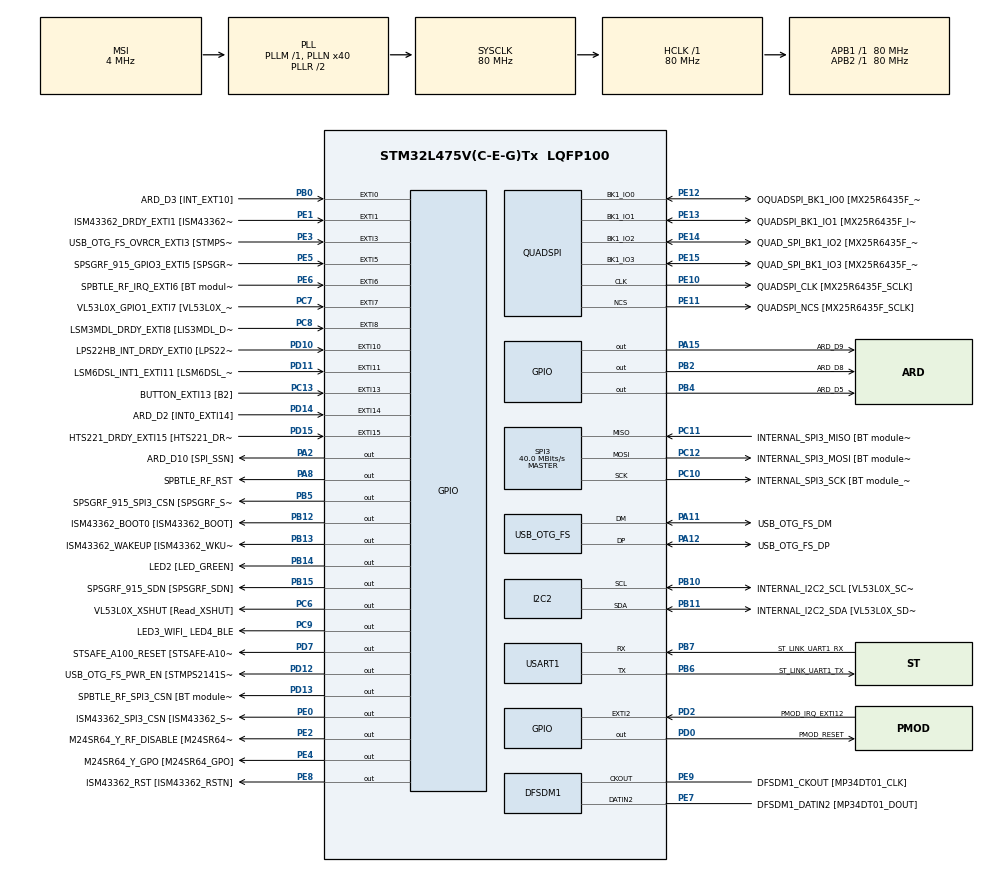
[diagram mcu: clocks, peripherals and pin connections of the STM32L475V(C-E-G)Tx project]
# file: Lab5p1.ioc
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FREERTOS.BinarySemaphores01=set,Dynamic,NULL,Depleted;sendData,Dynamic,NULL,Available
FREERTOS.Tasks01=defaultTask,8,128,StartDefaultTask,Default,NULL,Dynamic,NULL,NULL;LEDlen,24,128,StartTask02,Default,NULL,Dynamic,NULL,NULL;PrintTask,24,128,StartTask03,Default,NULL,Dynamic,NULL,NULL
FREERTOS.Timers01=HTIM1,Callback1,osTimerPeriodic,Default,NULL,Dynamic,NULL
FREERTOS.configTOTAL_HEAP_SIZE=6000
I2C2.Timing=0x10D19CE4
Mcu.Family=STM32L4
Mcu.Name=STM32L475V(C-E-G)Tx
Mcu.Package=LQFP100
NVIC.EXTI15_10_IRQn=true\:5\:0\:false\:false\:true\:true\:true\:true\:true
NVIC.EXTI9_5_IRQn=true\:5\:0\:false\:false\:true\:true\:true\:true\:true
NVIC.PriorityGroup=NVIC_PRIORITYGROUP_4
NVIC.TIM1_TRG_COM_TIM17_IRQn=true\:5\:0\:false\:false\:true\:true\:true\:true\:true
NVIC.TIM1_UP_TIM16_IRQn=true\:5\:0\:false\:false\:true\:true\:true\:true\:true
NVIC.TIM6_DAC_IRQn=true\:15\:0\:false\:false\:true\:false\:false\:true\:true
NVIC.TimeBase=TIM6_DAC_IRQn
NVIC.TimeBaseIP=TIM6
PA0.GPIO_Label=ARD_D1 [UART4_TX]
PA0.Signal=UART4_TX
PA1.GPIO_Label=ARD_D0 [UART4_RX]
PA1.Signal=UART4_RX
PA10.GPIO_Label=USB_OTG_FS_ID
PA10.Signal=USB_OTG_FS_ID
PA11.GPIO_Label=USB_OTG_FS_DM
PA11.Mode=Device_Only
PA11.Signal=USB_OTG_FS_DM
PA12.GPIO_Label=USB_OTG_FS_DP
PA12.Mode=Device_Only
PA12.Signal=USB_OTG_FS_DP
PA13\ (JTMS-SWDIO).GPIO_Label=SYS_JTMS_SWDIO
PA13\ (JTMS-SWDIO).Mode=Trace_Asynchronous_SW
PA13\ (JTMS-SWDIO).Signal=SYS_JTMS-SWDIO
PA14\ (JTCK-SWCLK).GPIO_Label=SYS_JTCK_SWCLK
PA14\ (JTCK-SWCLK).Mode=Trace_Asynchronous_SW
PA14\ (JTCK-SWCLK).Signal=SYS_JTCK-SWCLK
PA15\ (JTDI).GPIO_Label=ARD_D9
PA15\ (JTDI).Signal=GPIO_Output
PA2.GPIO_Label=ARD_D10 [SPI_SSN]
PA2.Signal=GPIO_Output
PA3.GPIO_Label=ARD_D4
PA3.Signal=S_TIM2_CH4
PA4.GPIO_Label=ARD_D7
PA4.Signal=ADCx_IN9
PA5.GPIO_Label=ARD_D13 [SPI1_SCK]
PA5.Signal=SPI1_SCK
PA6.GPIO_Label=ARD_D12 [SPI1_MISO]
PA6.Signal=SPI1_MISO
PA7.GPIO_Label=ARD_D11 [SPI1_MOSI]
PA7.Signal=SPI1_MOSI
PA8.GPIO_Label=SPBTLE_RF_RST
PA8.Signal=GPIO_Output
PA9.GPIO_Label=USB_OTG_FS_VBUS [STMPS2141STR_OUT]
PA9.Signal=USB_OTG_FS_VBUS
PB0.GPIO_Label=ARD_D3 [INT_EXT10]
PB0.Signal=GPXTI0
PB1.GPIO_Label=ARD_D6 [ADC1_IN6]
PB1.Signal=ADCx_IN16
PB10.GPIO_Label=INTERNAL_I2C2_SCL [VL53L0X_SCL]
PB10.GPIO_Pu=GPIO_PULLUP
PB10.Mode=I2C
PB10.Signal=I2C2_SCL
PB11.GPIO_Label=INTERNAL_I2C2_SDA [VL53L0X_SDA]
PB11.GPIO_Pu=GPIO_PULLUP
PB11.Mode=I2C
PB11.Signal=I2C2_SDA
PB12.GPIO_Label=ISM43362_BOOT0 [ISM43362_BOOT]
PB12.Signal=GPIO_Output
PB13.GPIO_Label=ISM43362_WAKEUP [ISM43362_WKUP]
PB13.Signal=GPIO_Output
PB14.GPIO_Label=LED2 [LED_GREEN]
PB14.Signal=GPIO_Output
PB15.GPIO_Label=SPSGRF_915_SDN [SPSGRF_SDN]
PB15.Signal=GPIO_Output
PB2.GPIO_Label=ARD_D8
PB2.Signal=GPIO_Output
PB3\ (JTDO-TRACESWO).GPIO_Label=SYS_JTD0_SWO
PB3\ (JTDO-TRACESWO).Mode=Trace_Asynchronous_SW
PB3\ (JTDO-TRACESWO).Signal=SYS_JTDO-SWO
PB4\ (NJTRST).GPIO_Label=ARD_D5
PB4\ (NJTRST).Signal=GPIO_Output
PB5.GPIO_Label=SPSGRF_915_SPI3_CSN [SPSGRF_SPI_CS]
PB5.PinState=GPIO_PIN_SET
PB5.Signal=GPIO_Output
PB6.GPIO_Label=ST_LINK_UART1_TX
PB6.Mode=Asynchronous
PB6.Signal=USART1_TX
PB7.GPIO_Label=ST_LINK_UART1_RX
PB7.Mode=Asynchronous
PB7.Signal=USART1_RX
PB8.GPIO_Label=ARD_D15 [I2C1_SCL]
PB8.Signal=I2C1_SCL
PB9.GPIO_Label=ARD_D14 [I2C1_SDA]
PB9.Signal=I2C1_SDA
PC0.GPIO_Label=ARD_A5 [ADC]
PC0.Signal=ADCx_IN1
PC1.GPIO_Label=ARD_A4 [ADC]
PC1.Signal=ADCx_IN2
PC10.GPIO_Label=INTERNAL_SPI3_SCK [BT module_SPI_SCLK] [ISM43362_SCK]
PC10.Mode=Full_Duplex_Master
PC10.Signal=SPI3_SCK
PC11.GPIO_Label=INTERNAL_SPI3_MISO [BT module_SPI_MISO] [ISM43362_MISO]
PC11.Mode=Full_Duplex_Master
PC11.Signal=SPI3_MISO
PC12.GPIO_Label=INTERNAL_SPI3_MOSI [BT module_SPI_MOSI] [ISM43362_MOSI]
PC12.Mode=Full_Duplex_Master
PC12.Signal=SPI3_MOSI
PC13.GPIO_Label=BUTTON_EXTI13 [B2]
PC13.GPIO_ModeDefaultEXTI=GPIO_MODE_IT_FALLING
PC13.Signal=GPXTI13
PC14-OSC32_IN\ (PC14).Mode=LSE-External-Oscillator
PC14-OSC32_IN\ (PC14).Signal=RCC_OSC32_IN
PC15-OSC32_OUT\ (PC15).Mode=LSE-External-Oscillator
PC15-OSC32_OUT\ (PC15).Signal=RCC_OSC32_OUT
PC2.GPIO_Label=ARD_A3 [ADC]
PC2.Signal=ADCx_IN3
PC3.GPIO_Label=ARD_A2 [ADC]
PC3.Signal=ADCx_IN4
PC4.GPIO_Label=ARD_A1 [ADC]
PC4.Signal=ADCx_IN13
PC5.GPIO_Label=ARD_A0 [ADC]
PC5.Signal=ADCx_IN14
PC6.GPIO_Label=VL53L0X_XSHUT [Read_XSHUT]
PC6.Signal=GPIO_Output
PC7.GPIO_Label=VL53L0X_GPIO1_EXTI7 [VL53L0X_GPIO1]
PC7.Signal=GPXTI7
PC8.GPIO_Label=LSM3MDL_DRDY_EXTI8 [LIS3MDL_DRDY]
PC8.Signal=GPXTI8
PC9.GPIO_Label=LED3_WIFI_ LED4_BLE
PC9.Signal=GPIO_Output
PD0.GPIO_Label=PMOD_RESET
PD0.Signal=GPIO_Output
PD1.GPIO_Label=PMOD_SPI2_SCK
PD1.Signal=SPI2_SCK
PD10.GPIO_Label=LPS22HB_INT_DRDY_EXTI0 [LPS22HB_INT_DRDY] 
PD10.Signal=GPXTI10
PD11.GPIO_Label=LSM6DSL_INT1_EXTI11 [LSM6DSL_INT1]
PD11.Signal=GPXTI11
PD12.GPIO_Label=USB_OTG_FS_PWR_EN [STMPS2141STR_EN]
PD12.Signal=GPIO_Output
PD13.GPIO_Label=SPBTLE_RF_SPI3_CSN [BT module_SPI_CS]
PD13.PinState=GPIO_PIN_SET
PD13.Signal=GPIO_Output
PD14.GPIO_Label=ARD_D2 [INT0_EXTI14]
PD14.Signal=GPXTI14
PD15.GPIO_Label=HTS221_DRDY_EXTI15 [HTS221_DRDY]
PD15.Signal=GPXTI15
PD2.GPIO_Label=PMOD_IRQ_EXTI12
PD2.Signal=GPXTI2
PD3.GPIO_Label=PMOD_UART2_CTS
PD3.Signal=USART2_CTS
PD4.GPIO_Label=PMOD_UART2_RTS
PD4.Signal=USART2_RTS
PD5.GPIO_Label=PMOD_UART2_TX
PD5.Signal=USART2_TX
PD6.GPIO_Label=PMOD_UART2_RX
PD6.Signal=USART2_RX
PD7.GPIO_Label=STSAFE_A100_RESET [STSAFE-A100_RESET]
PD7.Signal=GPIO_Output
PD8.GPIO_Label=INTERNAL_UART3_TX [ISM43362_RX]
PD8.Signal=USART3_TX
PD9.GPIO_Label=INTERNAL_UART3_RX [ISM43362_TX]
PD9.Signal=USART3_RX
PE0.GPIO_Label=ISM43362_SPI3_CSN [ISM43362_SSN]
PE0.PinState=GPIO_PIN_SET
PE0.Signal=GPIO_Output
PE1.GPIO_Label=ISM43362_DRDY_EXTI1 [ISM43362_DATARDY]
PE1.Signal=GPXTI1
PE10.GPIO_Label=QUADSPI_CLK [MX25R6435F_SCLK]
PE10.Mode=Single Bank
PE10.Signal=QUADSPI_CLK
PE11.GPIO_Label=QUADSPI_NCS [MX25R6435F_SCLK]
PE11.Mode=Single Bank
PE11.Signal=QUADSPI_NCS
PE12.GPIO_Label=OQUADSPI_BK1_IO0 [MX25R6435F_IO0]
PE12.Mode=Single Bank
PE12.Signal=QUADSPI_BK1_IO0
PE13.GPIO_Label=QUADSPI_BK1_IO1 [MX25R6435F_IO1]
PE13.Mode=Single Bank
PE13.Signal=QUADSPI_BK1_IO1
PE14.GPIO_Label=QUAD_SPI_BK1_IO2 [MX25R6435F_IO2]
PE14.Mode=Single Bank
PE14.Signal=QUADSPI_BK1_IO2
PE15.GPIO_Label=QUAD_SPI_BK1_IO3 [MX25R6435F_IO3]
PE15.Mode=Single Bank
PE15.Signal=QUADSPI_BK1_IO3
PE2.GPIO_Label=M24SR64_Y_RF_DISABLE [M24SR64_RFDIS]
PE2.Signal=GPIO_Output
PE3.GPIO_Label=USB_OTG_FS_OVRCR_EXTI3 [STMPS2141STR_FAULT]
PE3.Signal=GPXTI3
PE4.GPIO_Label=M24SR64_Y_GPO [M24SR64_GPO]
PE4.Signal=GPIO_Output
PE5.GPIO_Label=SPSGRF_915_GPIO3_EXTI5 [SPSGRF_GPIO_3]
PE5.Signal=GPXTI5
PE6.GPIO_Label=SPBTLE_RF_IRQ_EXTI6 [BT module_SPI_IRQ]
PE6.Signal=GPXTI6
PE7.GPIO_Label=DFSDM1_DATIN2 [MP34DT01_DOUT]
PE7.Signal=S_DATAIN2DFSDM1
PE8.GPIO_Label=ISM43362_RST [ISM43362_RSTN]
PE8.Signal=GPIO_Output
PE9.GPIO_Label=DFSDM1_CKOUT [MP34DT01_CLK]
PE9.Signal=S_CKOUTDFSDM1
ProjectManager.HeapSize=0x200
ProjectManager.StackSize=0x400
ProjectManager.TargetToolchain=STM32CubeIDE
QUADSPI.ClockPrescaler=2
QUADSPI.FifoThreshold=4
QUADSPI.FlashSize=23
QUADSPI.SampleShifting=QSPI_SAMPLE_SHIFTING_HALFCYCLE
RCC.ADCFreq_Value=48000000
RCC.AHBFreq_Value=80000000
RCC.APB1Freq_Value=80000000
RCC.APB1TimFreq_Value=80000000
RCC.APB2Freq_Value=80000000
RCC.APB2TimFreq_Value=80000000
RCC.CortexFreq_Value=80000000
RCC.HCLKFreq_Value=80000000
RCC.HSE_VALUE=8000000
RCC.HSI_VALUE=16000000
RCC.MSI_VALUE=4000000
RCC.PLLN=40
RCC.PLLSAI1N=24
RCC.SYSCLKFreq_VALUE=80000000
RCC.SYSCLKSource=RCC_SYSCLKSOURCE_PLLCLK
RCC.USBFreq_Value=48000000
RCC.VCOOutputFreq_Value=160000000
SH.ADCx_IN1.0=ADC1_IN1
SH.ADCx_IN13.0=ADC1_IN13
SH.ADCx_IN14.0=ADC1_IN14
SH.ADCx_IN16.0=ADC1_IN16
SH.ADCx_IN2.0=ADC1_IN2
SH.ADCx_IN3.0=ADC1_IN3
SH.ADCx_IN4.0=ADC1_IN4
SH.ADCx_IN9.0=ADC1_IN9
SH.S_CKOUTDFSDM1.0=DFSDM1_CKOUT,CKOUT
SH.S_CKOUTDFSDM1.1=DFSDM1_CKOUT,PDM_SPI_Input_from_ch12_and_Internal_Clock
SH.S_DATAIN2DFSDM1.0=DFSDM1_DATIN2,PDM_SPI_Input_from_ch12_and_Internal_Clock
SH.S_TIM2_CH4.0=TIM2_CH4
SPI3.CalculateBaudRate=40.0 MBits/s
SPI3.Direction=SPI_DIRECTION_2LINES
SPI3.Mode=SPI_MODE_MASTER
SPI3.VirtualType=VM_MASTER
TIM16.Period=10000-1
TIM16.Prescaler=8000-1
TIM17.Period=10000-1
TIM17.Prescaler=8000-1
USART1.VirtualMode-Asynchronous=VM_ASYNC
USB_OTG_FS.VirtualMode=Device_Only
VP_FREERTOS_VS_CMSIS_V2.Mode=CMSIS_V2
VP_SYS_VS_tim6.Mode=TIM6
VP_TIM16_VS_ClockSourceINT.Mode=Enable_Timer
VP_TIM17_VS_ClockSourceINT.Mode=Enable_Timer
board=B-L475E-IOT01A1

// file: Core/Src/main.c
/* USER CODE BEGIN Header */
/**
  ******************************************************************************
  * @file           : main.c
  * @brief          : Main program body
  ******************************************************************************
  * @attention
  *
  * Copyright (c) 2024 STMicroelectronics.
  * All rights reserved.
  *
  * This software is licensed under terms that can be found in the LICENSE file
  * in the root directory of this software component.
  * If no LICENSE file comes with this software, it is provided AS-IS.
  *
  ******************************************************************************
  */
/* USER CODE END Header */
#include "main.h"
#include "cmsis_os.h"

/* USER CODE BEGIN PTD */
#define SW_HW_ 1
/* USER CODE END PTD */

DFSDM_Channel_HandleTypeDef hdfsdm1_channel1;

I2C_HandleTypeDef hi2c2;

QSPI_HandleTypeDef hqspi;

SPI_HandleTypeDef hspi3;

TIM_HandleTypeDef htim16;
TIM_HandleTypeDef htim17;

UART_HandleTypeDef huart1;

PCD_HandleTypeDef hpcd_USB_OTG_FS;

/* Definitions for defaultTask */
osThreadId_t defaultTaskHandle;
const osThreadAttr_t defaultTask_attributes = {
  .name = "defaultTask",
  .stack_size = 128 * 4,
  .priority = (osPriority_t) osPriorityLow,
};
/* Definitions for LEDlen */
osThreadId_t LEDlenHandle;
const osThreadAttr_t LEDlen_attributes = {
  .name = "LEDlen",
  .stack_size = 128 * 4,
  .priority = (osPriority_t) osPriorityNormal,
};
/* Definitions for PrintTask */
osThreadId_t PrintTaskHandle;
const osThreadAttr_t PrintTask_attributes = {
  .name = "PrintTask",
  .stack_size = 128 * 4,
  .priority = (osPriority_t) osPriorityNormal,
};
/* Definitions for HTIM1 */
osTimerId_t HTIM1Handle;
const osTimerAttr_t HTIM1_attributes = {
  .name = "HTIM1"
};
/* Definitions for set */
osSemaphoreId_t setHandle;
const osSemaphoreAttr_t set_attributes = {
  .name = "set"
};
/* Definitions for sendData */
osSemaphoreId_t sendDataHandle;
const osSemaphoreAttr_t sendData_attributes = {
  .name = "sendData"
};
/* USER CODE BEGIN PV */
uint8_t toglen=0;
int flashlen=1000;
int x=0;
/* USER CODE END PV */

void SystemClock_Config(void);
static void MX_GPIO_Init(void);
static void MX_DFSDM1_Init(void);
static void MX_I2C2_Init(void);
static void MX_QUADSPI_Init(void);
static void MX_SPI3_Init(void);
static void MX_USART1_UART_Init(void);
static void MX_USB_OTG_FS_PCD_Init(void);
static void MX_TIM16_Init(void);
static void MX_TIM17_Init(void);
void StartDefaultTask(void *argument);
void StartTask02(void *argument);
void StartTask03(void *argument);
void Callback1(void *argument);

/* USER CODE BEGIN 0 */
int _write(int file, char *ptr, int len) {

 for (int i = 0; i < len; i++) {

 ITM_SendChar((*ptr++));

 }

 return len;

}
/* USER CODE END 0 */

int main(void)
{

  /* MCU Configuration--------------------------------------------------------*/

  /* Reset of all peripherals, Initializes the Flash interface and the Systick. */
  HAL_Init();

  /* USER CODE BEGIN Init */
  printf("Starting\n");
  /* USER CODE END Init */

  /* Configure the system clock */
  SystemClock_Config();

  /* Initialize all configured peripherals */
  MX_GPIO_Init();
  MX_DFSDM1_Init();
  MX_I2C2_Init();
  MX_QUADSPI_Init();
  MX_SPI3_Init();
  MX_USART1_UART_Init();
  MX_USB_OTG_FS_PCD_Init();
  MX_TIM16_Init();
  MX_TIM17_Init();
  /* USER CODE BEGIN 2 */
  HAL_TIM_Base_Start_IT(&htim16);
  HAL_TIM_Base_Start_IT(&htim17);
  uint8_t msg[] = "=====> starting \r\n ";
  HAL_UART_Transmit(&huart1,msg,sizeof(msg),1000);

  /* USER CODE END 2 */

  /* Init scheduler */
  osKernelInitialize();

  /* Create the semaphores(s) */
  /* creation of set */
  setHandle = osSemaphoreNew(1, 0, &set_attributes);

  /* creation of sendData */
  sendDataHandle = osSemaphoreNew(1, 1, &sendData_attributes);

  /* Create the timer(s) */
  /* creation of HTIM1 */
  HTIM1Handle = osTimerNew(Callback1, osTimerPeriodic, NULL, &HTIM1_attributes);

  /* USER CODE BEGIN RTOS_TIMERS */
  int stat = osTimerStart(HTIM1Handle, 1000);
  if (stat == osOK) {
	  printf("Timer is good %d\n",stat);
    }
  /* start timers, add new ones, ... */
  /* USER CODE END RTOS_TIMERS */

  /* Create the thread(s) */
  /* creation of defaultTask */
  defaultTaskHandle = osThreadNew(StartDefaultTask, NULL, &defaultTask_attributes);

  /* creation of LEDlen */
  LEDlenHandle = osThreadNew(StartTask02, NULL, &LEDlen_attributes);

  /* creation of PrintTask */
  PrintTaskHandle = osThreadNew(StartTask03, NULL, &PrintTask_attributes);

  /* Start scheduler */
  osKernelStart();

  /* We should never get here as control is now taken by the scheduler */

  /* Infinite loop */
  while (1)
  {

  }
}

void SystemClock_Config(void)
{
  RCC_OscInitTypeDef RCC_OscInitStruct = {0};
  RCC_ClkInitTypeDef RCC_ClkInitStruct = {0};

  /** Configure the main internal regulator output voltage
  */
  if (HAL_PWREx_ControlVoltageScaling(PWR_REGULATOR_VOLTAGE_SCALE1) != HAL_OK)
  {
    Error_Handler();
  }

  /** Configure LSE Drive Capability
  */
  HAL_PWR_EnableBkUpAccess();
  __HAL_RCC_LSEDRIVE_CONFIG(RCC_LSEDRIVE_LOW);

  /** Initializes the RCC Oscillators according to the specified parameters
  * in the RCC_OscInitTypeDef structure.
  */
  RCC_OscInitStruct.OscillatorType = RCC_OSCILLATORTYPE_LSE|RCC_OSCILLATORTYPE_MSI;
  RCC_OscInitStruct.LSEState = RCC_LSE_ON;
  RCC_OscInitStruct.MSIState = RCC_MSI_ON;
  RCC_OscInitStruct.MSICalibrationValue = 0;
  RCC_OscInitStruct.MSIClockRange = RCC_MSIRANGE_6;
  RCC_OscInitStruct.PLL.PLLState = RCC_PLL_ON;
  RCC_OscInitStruct.PLL.PLLSource = RCC_PLLSOURCE_MSI;
  RCC_OscInitStruct.PLL.PLLM = 1;
  RCC_OscInitStruct.PLL.PLLN = 40;
  RCC_OscInitStruct.PLL.PLLP = RCC_PLLP_DIV7;
  RCC_OscInitStruct.PLL.PLLQ = RCC_PLLQ_DIV2;
  RCC_OscInitStruct.PLL.PLLR = RCC_PLLR_DIV2;
  if (HAL_RCC_OscConfig(&RCC_OscInitStruct) != HAL_OK)
  {
    Error_Handler();
  }

  /** Initializes the CPU, AHB and APB buses clocks
  */
  RCC_ClkInitStruct.ClockType = RCC_CLOCKTYPE_HCLK|RCC_CLOCKTYPE_SYSCLK
                              |RCC_CLOCKTYPE_PCLK1|RCC_CLOCKTYPE_PCLK2;
  RCC_ClkInitStruct.SYSCLKSource = RCC_SYSCLKSOURCE_PLLCLK;
  RCC_ClkInitStruct.AHBCLKDivider = RCC_SYSCLK_DIV1;
  RCC_ClkInitStruct.APB1CLKDivider = RCC_HCLK_DIV1;
  RCC_ClkInitStruct.APB2CLKDivider = RCC_HCLK_DIV1;

  if (HAL_RCC_ClockConfig(&RCC_ClkInitStruct, FLASH_LATENCY_4) != HAL_OK)
  {
    Error_Handler();
  }

  /** Enable MSI Auto calibration
  */
  HAL_RCCEx_EnableMSIPLLMode();
}

static void MX_DFSDM1_Init(void)
{

  hdfsdm1_channel1.Instance = DFSDM1_Channel1;
  hdfsdm1_channel1.Init.OutputClock.Activation = ENABLE;
  hdfsdm1_channel1.Init.OutputClock.Selection = DFSDM_CHANNEL_OUTPUT_CLOCK_SYSTEM;
  hdfsdm1_channel1.Init.OutputClock.Divider = 2;
  hdfsdm1_channel1.Init.Input.Multiplexer = DFSDM_CHANNEL_EXTERNAL_INPUTS;
  hdfsdm1_channel1.Init.Input.DataPacking = DFSDM_CHANNEL_STANDARD_MODE;
  hdfsdm1_channel1.Init.Input.Pins = DFSDM_CHANNEL_FOLLOWING_CHANNEL_PINS;
  hdfsdm1_channel1.Init.SerialInterface.Type = DFSDM_CHANNEL_SPI_RISING;
  hdfsdm1_channel1.Init.SerialInterface.SpiClock = DFSDM_CHANNEL_SPI_CLOCK_INTERNAL;
  hdfsdm1_channel1.Init.Awd.FilterOrder = DFSDM_CHANNEL_FASTSINC_ORDER;
  hdfsdm1_channel1.Init.Awd.Oversampling = 1;
  hdfsdm1_channel1.Init.Offset = 0;
  hdfsdm1_channel1.Init.RightBitShift = 0x00;
  if (HAL_DFSDM_ChannelInit(&hdfsdm1_channel1) != HAL_OK)
  {
    Error_Handler();
  }

}

static void MX_I2C2_Init(void)
{

  hi2c2.Instance = I2C2;
  hi2c2.Init.Timing = 0x10D19CE4;
  hi2c2.Init.OwnAddress1 = 0;
  hi2c2.Init.AddressingMode = I2C_ADDRESSINGMODE_7BIT;
  hi2c2.Init.DualAddressMode = I2C_DUALADDRESS_DISABLE;
  hi2c2.Init.OwnAddress2 = 0;
  hi2c2.Init.OwnAddress2Masks = I2C_OA2_NOMASK;
  hi2c2.Init.GeneralCallMode = I2C_GENERALCALL_DISABLE;
  hi2c2.Init.NoStretchMode = I2C_NOSTRETCH_DISABLE;
  if (HAL_I2C_Init(&hi2c2) != HAL_OK)
  {
    Error_Handler();
  }

  /** Configure Analogue filter
  */
  if (HAL_I2CEx_ConfigAnalogFilter(&hi2c2, I2C_ANALOGFILTER_ENABLE) != HAL_OK)
  {
    Error_Handler();
  }

  /** Configure Digital filter
  */
  if (HAL_I2CEx_ConfigDigitalFilter(&hi2c2, 0) != HAL_OK)
  {
    Error_Handler();
  }

}

static void MX_QUADSPI_Init(void)
{

  /* QUADSPI parameter configuration*/
  hqspi.Instance = QUADSPI;
  hqspi.Init.ClockPrescaler = 2;
  hqspi.Init.FifoThreshold = 4;
  hqspi.Init.SampleShifting = QSPI_SAMPLE_SHIFTING_HALFCYCLE;
  hqspi.Init.FlashSize = 23;
  hqspi.Init.ChipSelectHighTime = QSPI_CS_HIGH_TIME_1_CYCLE;
  hqspi.Init.ClockMode = QSPI_CLOCK_MODE_0;
  if (HAL_QSPI_Init(&hqspi) != HAL_OK)
  {
    Error_Handler();
  }

}

static void MX_SPI3_Init(void)
{

  /* SPI3 parameter configuration*/
  hspi3.Instance = SPI3;
  hspi3.Init.Mode = SPI_MODE_MASTER;
  hspi3.Init.Direction = SPI_DIRECTION_2LINES;
  hspi3.Init.DataSize = SPI_DATASIZE_4BIT;
  hspi3.Init.CLKPolarity = SPI_POLARITY_LOW;
  hspi3.Init.CLKPhase = SPI_PHASE_1EDGE;
  hspi3.Init.NSS = SPI_NSS_SOFT;
  hspi3.Init.BaudRatePrescaler = SPI_BAUDRATEPRESCALER_2;
  hspi3.Init.FirstBit = SPI_FIRSTBIT_MSB;
  hspi3.Init.TIMode = SPI_TIMODE_DISABLE;
  hspi3.Init.CRCCalculation = SPI_CRCCALCULATION_DISABLE;
  hspi3.Init.CRCPolynomial = 7;
  hspi3.Init.CRCLength = SPI_CRC_LENGTH_DATASIZE;
  hspi3.Init.NSSPMode = SPI_NSS_PULSE_ENABLE;
  if (HAL_SPI_Init(&hspi3) != HAL_OK)
  {
    Error_Handler();
  }

}

static void MX_TIM16_Init(void)
{

  htim16.Instance = TIM16;
  htim16.Init.Prescaler = 8000-1;
  htim16.Init.CounterMode = TIM_COUNTERMODE_UP;
  htim16.Init.Period = 10000-1;
  htim16.Init.ClockDivision = TIM_CLOCKDIVISION_DIV1;
  htim16.Init.RepetitionCounter = 0;
  htim16.Init.AutoReloadPreload = TIM_AUTORELOAD_PRELOAD_DISABLE;
  if (HAL_TIM_Base_Init(&htim16) != HAL_OK)
  {
    Error_Handler();
  }

}

static void MX_TIM17_Init(void)
{

  htim17.Instance = TIM17;
  htim17.Init.Prescaler = 8000-1;
  htim17.Init.CounterMode = TIM_COUNTERMODE_UP;
  htim17.Init.Period = 10000-1;
  htim17.Init.ClockDivision = TIM_CLOCKDIVISION_DIV1;
  htim17.Init.RepetitionCounter = 0;
  htim17.Init.AutoReloadPreload = TIM_AUTORELOAD_PRELOAD_DISABLE;
  if (HAL_TIM_Base_Init(&htim17) != HAL_OK)
  {
    Error_Handler();
  }

}

static void MX_USART1_UART_Init(void)
{

  huart1.Instance = USART1;
  huart1.Init.BaudRate = 115200;
  huart1.Init.WordLength = UART_WORDLENGTH_8B;
  huart1.Init.StopBits = UART_STOPBITS_1;
  huart1.Init.Parity = UART_PARITY_NONE;
  huart1.Init.Mode = UART_MODE_TX_RX;
  huart1.Init.HwFlowCtl = UART_HWCONTROL_NONE;
  huart1.Init.OverSampling = UART_OVERSAMPLING_16;
  huart1.Init.OneBitSampling = UART_ONE_BIT_SAMPLE_DISABLE;
  huart1.AdvancedInit.AdvFeatureInit = UART_ADVFEATURE_NO_INIT;
  if (HAL_UART_Init(&huart1) != HAL_OK)
  {
    Error_Handler();
  }

}

static void MX_USB_OTG_FS_PCD_Init(void)
{

  hpcd_USB_OTG_FS.Instance = USB_OTG_FS;
  hpcd_USB_OTG_FS.Init.dev_endpoints = 6;
  hpcd_USB_OTG_FS.Init.speed = PCD_SPEED_FULL;
  hpcd_USB_OTG_FS.Init.phy_itface = PCD_PHY_EMBEDDED;
  hpcd_USB_OTG_FS.Init.Sof_enable = DISABLE;
  hpcd_USB_OTG_FS.Init.low_power_enable = DISABLE;
  hpcd_USB_OTG_FS.Init.lpm_enable = DISABLE;
  hpcd_USB_OTG_FS.Init.battery_charging_enable = DISABLE;
  hpcd_USB_OTG_FS.Init.use_dedicated_ep1 = DISABLE;
  hpcd_USB_OTG_FS.Init.vbus_sensing_enable = DISABLE;
  if (HAL_PCD_Init(&hpcd_USB_OTG_FS) != HAL_OK)
  {
    Error_Handler();
  }

}

static void MX_GPIO_Init(void)
{
  GPIO_InitTypeDef GPIO_InitStruct = {0};

  /* GPIO Ports Clock Enable */
  __HAL_RCC_GPIOE_CLK_ENABLE();
  __HAL_RCC_GPIOC_CLK_ENABLE();
  __HAL_RCC_GPIOA_CLK_ENABLE();
  __HAL_RCC_GPIOB_CLK_ENABLE();
  __HAL_RCC_GPIOD_CLK_ENABLE();

  /*Configure GPIO pin Output Level */
  HAL_GPIO_WritePin(GPIOE, M24SR64_Y_RF_DISABLE_Pin|M24SR64_Y_GPO_Pin|ISM43362_RST_Pin, GPIO_PIN_RESET);

  /*Configure GPIO pin Output Level */
  HAL_GPIO_WritePin(GPIOA, ARD_D10_Pin|SPBTLE_RF_RST_Pin|ARD_D9_Pin, GPIO_PIN_RESET);

  /*Configure GPIO pin Output Level */
  HAL_GPIO_WritePin(GPIOB, ARD_D8_Pin|ISM43362_BOOT0_Pin|ISM43362_WAKEUP_Pin|LED2_Pin
                          |SPSGRF_915_SDN_Pin|ARD_D5_Pin, GPIO_PIN_RESET);

  /*Configure GPIO pin Output Level */
  HAL_GPIO_WritePin(GPIOD, USB_OTG_FS_PWR_EN_Pin|PMOD_RESET_Pin|STSAFE_A100_RESET_Pin, GPIO_PIN_RESET);

  /*Configure GPIO pin Output Level */
  HAL_GPIO_WritePin(SPBTLE_RF_SPI3_CSN_GPIO_Port, SPBTLE_RF_SPI3_CSN_Pin, GPIO_PIN_SET);

  /*Configure GPIO pin Output Level */
  HAL_GPIO_WritePin(GPIOC, VL53L0X_XSHUT_Pin|LED3_WIFI__LED4_BLE_Pin, GPIO_PIN_RESET);

  /*Configure GPIO pin Output Level */
  HAL_GPIO_WritePin(SPSGRF_915_SPI3_CSN_GPIO_Port, SPSGRF_915_SPI3_CSN_Pin, GPIO_PIN_SET);

  /*Configure GPIO pin Output Level */
  HAL_GPIO_WritePin(ISM43362_SPI3_CSN_GPIO_Port, ISM43362_SPI3_CSN_Pin, GPIO_PIN_SET);

  /*Configure GPIO pins : M24SR64_Y_RF_DISABLE_Pin M24SR64_Y_GPO_Pin ISM43362_RST_Pin ISM43362_SPI3_CSN_Pin */
  GPIO_InitStruct.Pin = M24SR64_Y_RF_DISABLE_Pin|M24SR64_Y_GPO_Pin|ISM43362_RST_Pin|ISM43362_SPI3_CSN_Pin;
  GPIO_InitStruct.Mode = GPIO_MODE_OUTPUT_PP;
  GPIO_InitStruct.Pull = GPIO_NOPULL;
  GPIO_InitStruct.Speed = GPIO_SPEED_FREQ_LOW;
  HAL_GPIO_Init(GPIOE, &GPIO_InitStruct);

  /*Configure GPIO pins : USB_OTG_FS_OVRCR_EXTI3_Pin SPSGRF_915_GPIO3_EXTI5_Pin SPBTLE_RF_IRQ_EXTI6_Pin ISM43362_DRDY_EXTI1_Pin */
  GPIO_InitStruct.Pin = USB_OTG_FS_OVRCR_EXTI3_Pin|SPSGRF_915_GPIO3_EXTI5_Pin|SPBTLE_RF_IRQ_EXTI6_Pin|ISM43362_DRDY_EXTI1_Pin;
  GPIO_InitStruct.Mode = GPIO_MODE_IT_RISING;
  GPIO_InitStruct.Pull = GPIO_NOPULL;
  HAL_GPIO_Init(GPIOE, &GPIO_InitStruct);

  /*Configure GPIO pin : BUTTON_EXTI13_Pin */
  GPIO_InitStruct.Pin = BUTTON_EXTI13_Pin;
  GPIO_InitStruct.Mode = GPIO_MODE_IT_FALLING;
  GPIO_InitStruct.Pull = GPIO_NOPULL;
  HAL_GPIO_Init(BUTTON_EXTI13_GPIO_Port, &GPIO_InitStruct);

  /*Configure GPIO pins : ARD_A5_Pin ARD_A4_Pin ARD_A3_Pin ARD_A2_Pin
                           ARD_A1_Pin ARD_A0_Pin */
  GPIO_InitStruct.Pin = ARD_A5_Pin|ARD_A4_Pin|ARD_A3_Pin|ARD_A2_Pin
                          |ARD_A1_Pin|ARD_A0_Pin;
  GPIO_InitStruct.Mode = GPIO_MODE_ANALOG_ADC_CONTROL;
  GPIO_InitStruct.Pull = GPIO_NOPULL;
  HAL_GPIO_Init(GPIOC, &GPIO_InitStruct);

  /*Configure GPIO pins : ARD_D1_Pin ARD_D0_Pin */
  GPIO_InitStruct.Pin = ARD_D1_Pin|ARD_D0_Pin;
  GPIO_InitStruct.Mode = GPIO_MODE_AF_PP;
  GPIO_InitStruct.Pull = GPIO_NOPULL;
  GPIO_InitStruct.Speed = GPIO_SPEED_FREQ_VERY_HIGH;
  GPIO_InitStruct.Alternate = GPIO_AF8_UART4;
  HAL_GPIO_Init(GPIOA, &GPIO_InitStruct);

  /*Configure GPIO pins : ARD_D10_Pin SPBTLE_RF_RST_Pin ARD_D9_Pin */
  GPIO_InitStruct.Pin = ARD_D10_Pin|SPBTLE_RF_RST_Pin|ARD_D9_Pin;
  GPIO_InitStruct.Mode = GPIO_MODE_OUTPUT_PP;
  GPIO_InitStruct.Pull = GPIO_NOPULL;
  GPIO_InitStruct.Speed = GPIO_SPEED_FREQ_LOW;
  HAL_GPIO_Init(GPIOA, &GPIO_InitStruct);

  /*Configure GPIO pin : ARD_D4_Pin */
  GPIO_InitStruct.Pin = ARD_D4_Pin;
  GPIO_InitStruct.Mode = GPIO_MODE_AF_PP;
  GPIO_InitStruct.Pull = GPIO_NOPULL;
  GPIO_InitStruct.Speed = GPIO_SPEED_FREQ_LOW;
  GPIO_InitStruct.Alternate = GPIO_AF1_TIM2;
  HAL_GPIO_Init(ARD_D4_GPIO_Port, &GPIO_InitStruct);

  /*Configure GPIO pin : ARD_D7_Pin */
  GPIO_InitStruct.Pin = ARD_D7_Pin;
  GPIO_InitStruct.Mode = GPIO_MODE_ANALOG_ADC_CONTROL;
  GPIO_InitStruct.Pull = GPIO_NOPULL;
  HAL_GPIO_Init(ARD_D7_GPIO_Port, &GPIO_InitStruct);

  /*Configure GPIO pins : ARD_D13_Pin ARD_D12_Pin ARD_D11_Pin */
  GPIO_InitStruct.Pin = ARD_D13_Pin|ARD_D12_Pin|ARD_D11_Pin;
  GPIO_InitStruct.Mode = GPIO_MODE_AF_PP;
  GPIO_InitStruct.Pull = GPIO_NOPULL;
  GPIO_InitStruct.Speed = GPIO_SPEED_FREQ_VERY_HIGH;
  GPIO_InitStruct.Alternate = GPIO_AF5_SPI1;
  HAL_GPIO_Init(GPIOA, &GPIO_InitStruct);

  /*Configure GPIO pin : ARD_D3_Pin */
  GPIO_InitStruct.Pin = ARD_D3_Pin;
  GPIO_InitStruct.Mode = GPIO_MODE_IT_RISING;
  GPIO_InitStruct.Pull = GPIO_NOPULL;
  HAL_GPIO_Init(ARD_D3_GPIO_Port, &GPIO_InitStruct);

  /*Configure GPIO pin : ARD_D6_Pin */
  GPIO_InitStruct.Pin = ARD_D6_Pin;
  GPIO_InitStruct.Mode = GPIO_MODE_ANALOG_ADC_CONTROL;
  GPIO_InitStruct.Pull = GPIO_NOPULL;
  HAL_GPIO_Init(ARD_D6_GPIO_Port, &GPIO_InitStruct);

  /*Configure GPIO pins : ARD_D8_Pin ISM43362_BOOT0_Pin ISM43362_WAKEUP_Pin LED2_Pin
                           SPSGRF_915_SDN_Pin ARD_D5_Pin SPSGRF_915_SPI3_CSN_Pin */
  GPIO_InitStruct.Pin = ARD_D8_Pin|ISM43362_BOOT0_Pin|ISM43362_WAKEUP_Pin|LED2_Pin
                          |SPSGRF_915_SDN_Pin|ARD_D5_Pin|SPSGRF_915_SPI3_CSN_Pin;
  GPIO_InitStruct.Mode = GPIO_MODE_OUTPUT_PP;
  GPIO_InitStruct.Pull = GPIO_NOPULL;
  GPIO_InitStruct.Speed = GPIO_SPEED_FREQ_LOW;
  HAL_GPIO_Init(GPIOB, &GPIO_InitStruct);

  /*Configure GPIO pins : INTERNAL_UART3_TX_Pin INTERNAL_UART3_RX_Pin */
  GPIO_InitStruct.Pin = INTERNAL_UART3_TX_Pin|INTERNAL_UART3_RX_Pin;
  GPIO_InitStruct.Mode = GPIO_MODE_AF_PP;
  GPIO_InitStruct.Pull = GPIO_NOPULL;
  GPIO_InitStruct.Speed = GPIO_SPEED_FREQ_VERY_HIGH;
  GPIO_InitStruct.Alternate = GPIO_AF7_USART3;
  HAL_GPIO_Init(GPIOD, &GPIO_InitStruct);

  /*Configure GPIO pins : LPS22HB_INT_DRDY_EXTI0_Pin LSM6DSL_INT1_EXTI11_Pin ARD_D2_Pin HTS221_DRDY_EXTI15_Pin
                           PMOD_IRQ_EXTI12_Pin */
  GPIO_InitStruct.Pin = LPS22HB_INT_DRDY_EXTI0_Pin|LSM6DSL_INT1_EXTI11_Pin|ARD_D2_Pin|HTS221_DRDY_EXTI15_Pin
                          |PMOD_IRQ_EXTI12_Pin;
  GPIO_InitStruct.Mode = GPIO_MODE_IT_RISING;
  GPIO_InitStruct.Pull = GPIO_NOPULL;
  HAL_GPIO_Init(GPIOD, &GPIO_InitStruct);

  /*Configure GPIO pins : USB_OTG_FS_PWR_EN_Pin SPBTLE_RF_SPI3_CSN_Pin PMOD_RESET_Pin STSAFE_A100_RESET_Pin */
  GPIO_InitStruct.Pin = USB_OTG_FS_PWR_EN_Pin|SPBTLE_RF_SPI3_CSN_Pin|PMOD_RESET_Pin|STSAFE_A100_RESET_Pin;
  GPIO_InitStruct.Mode = GPIO_MODE_OUTPUT_PP;
  GPIO_InitStruct.Pull = GPIO_NOPULL;
  GPIO_InitStruct.Speed = GPIO_SPEED_FREQ_LOW;
  HAL_GPIO_Init(GPIOD, &GPIO_InitStruct);

  /*Configure GPIO pins : VL53L0X_XSHUT_Pin LED3_WIFI__LED4_BLE_Pin */
  GPIO_InitStruct.Pin = VL53L0X_XSHUT_Pin|LED3_WIFI__LED4_BLE_Pin;
  GPIO_InitStruct.Mode = GPIO_MODE_OUTPUT_PP;
  GPIO_InitStruct.Pull = GPIO_NOPULL;
  GPIO_InitStruct.Speed = GPIO_SPEED_FREQ_LOW;
  HAL_GPIO_Init(GPIOC, &GPIO_InitStruct);

  /*Configure GPIO pins : VL53L0X_GPIO1_EXTI7_Pin LSM3MDL_DRDY_EXTI8_Pin */
  GPIO_InitStruct.Pin = VL53L0X_GPIO1_EXTI7_Pin|LSM3MDL_DRDY_EXTI8_Pin;
  GPIO_InitStruct.Mode = GPIO_MODE_IT_RISING;
  GPIO_InitStruct.Pull = GPIO_NOPULL;
  HAL_GPIO_Init(GPIOC, &GPIO_InitStruct);

  /*Configure GPIO pin : PMOD_SPI2_SCK_Pin */
  GPIO_InitStruct.Pin = PMOD_SPI2_SCK_Pin;
  GPIO_InitStruct.Mode = GPIO_MODE_AF_PP;
  GPIO_InitStruct.Pull = GPIO_NOPULL;
  GPIO_InitStruct.Speed = GPIO_SPEED_FREQ_VERY_HIGH;
  GPIO_InitStruct.Alternate = GPIO_AF5_SPI2;
  HAL_GPIO_Init(PMOD_SPI2_SCK_GPIO_Port, &GPIO_InitStruct);

  /*Configure GPIO pins : PMOD_UART2_CTS_Pin PMOD_UART2_RTS_Pin PMOD_UART2_TX_Pin PMOD_UART2_RX_Pin */
  GPIO_InitStruct.Pin = PMOD_UART2_CTS_Pin|PMOD_UART2_RTS_Pin|PMOD_UART2_TX_Pin|PMOD_UART2_RX_Pin;
  GPIO_InitStruct.Mode = GPIO_MODE_AF_PP;
  GPIO_InitStruct.Pull = GPIO_NOPULL;
  GPIO_InitStruct.Speed = GPIO_SPEED_FREQ_VERY_HIGH;
  GPIO_InitStruct.Alternate = GPIO_AF7_USART2;
  HAL_GPIO_Init(GPIOD, &GPIO_InitStruct);

  /*Configure GPIO pins : ARD_D15_Pin ARD_D14_Pin */
  GPIO_InitStruct.Pin = ARD_D15_Pin|ARD_D14_Pin;
  GPIO_InitStruct.Mode = GPIO_MODE_AF_OD;
  GPIO_InitStruct.Pull = GPIO_NOPULL;
  GPIO_InitStruct.Speed = GPIO_SPEED_FREQ_VERY_HIGH;
  GPIO_InitStruct.Alternate = GPIO_AF4_I2C1;
  HAL_GPIO_Init(GPIOB, &GPIO_InitStruct);

  /* EXTI interrupt init*/
  HAL_NVIC_SetPriority(EXTI9_5_IRQn, 5, 0);
  HAL_NVIC_EnableIRQ(EXTI9_5_IRQn);

  HAL_NVIC_SetPriority(EXTI15_10_IRQn, 5, 0);
  HAL_NVIC_EnableIRQ(EXTI15_10_IRQn);

}

/* USER CODE BEGIN 4 */
void HAL_GPIO_EXTI_Callback(uint16_t GPIO_Pin) {
	if (GPIO_Pin == GPIO_PIN_13) {
		osThreadFlagsSet(LEDlenHandle, 0x0001);
		//printf("Button Pressed\n");
		//osSemaphoreRelease(setHandle);
		}
}
/* USER CODE END 4 */

void StartDefaultTask(void *argument)
{
  /* USER CODE BEGIN 5 */
  /* Infinite loop */
  for(;;)
  {
//	  osDelay()
  }
  /* USER CODE END 5 */
}

void StartTask02(void *argument)
{
  /* USER CODE BEGIN StartTask02 */
  /* Infinite loop */
  for(;;){
    //osSemaphoreAcquire(setHandle, osWaitForever);
    //printf("Semaphore Acquired\n");
	osThreadFlagsWait(0x0001, osFlagsWaitAny, osWaitForever);
    toglen=(toglen+1)%3;
    htim16.Init.RepetitionCounter=toglen;
    osTimerStop(HTIM1Handle);
    int stat = osTimerStart(HTIM1Handle, 1000*(1+toglen));
    printf("start is %d\n",stat);
    HAL_TIM_Base_Init(&htim16);
//    if (toglen==0){
//    	flashlen=1000;
//    }
//    else if (toglen==1){
//    	flashlen=2000;
//    }
//    else if (toglen==2){
//    	flashlen=3000;
//    }
  }
  /* USER CODE END StartTask02 */
}

void StartTask03(void *argument)
{
  /* USER CODE BEGIN StartTask03 */
  /* Infinite loop */
  for(;;)
  {

	  osThreadFlagsWait(0x0003, osFlagsWaitAny, osWaitForever);
	  printf("Semaphore Acquired %d \n",toglen);
	  char buff[4];//="hello WOrld\r\n";

	  snprintf(buff, sizeof(buff), "%d\r\n",toglen);
	  HAL_UART_Transmit(&huart1, buff, sizeof(buff), 2000);
  }
  /* USER CODE END StartTask03 */
}

/* Callback1 function */
void Callback1(void *argument)
{
  /* USER CODE BEGIN Callback1 */
	//if(0==SW_HW_){
		printf("Made it to callback\n");

		HAL_GPIO_TogglePin (GPIOB, GPIO_PIN_14);
	//}
  /* USER CODE END Callback1 */
}

void HAL_TIM_PeriodElapsedCallback(TIM_HandleTypeDef *htim)
{
  if (htim->Instance == TIM6) {
    HAL_IncTick();
  }
  /* USER CODE BEGIN Callback 1 */
  if (htim->Instance == TIM16) {
   // HAL_IncTick();
	  if (SW_HW_){
	  HAL_GPIO_TogglePin (GPIOB, GPIO_PIN_14);
	  }
  }
  if (htim->Instance == TIM17) {
   // HAL_IncTick();
	  osThreadFlagsSet(PrintTaskHandle, 0x0001);

  }
  /* USER CODE END Callback 1 */
}

void Error_Handler(void)
{
  __disable_irq();
  while (1)
  {
  }
}
